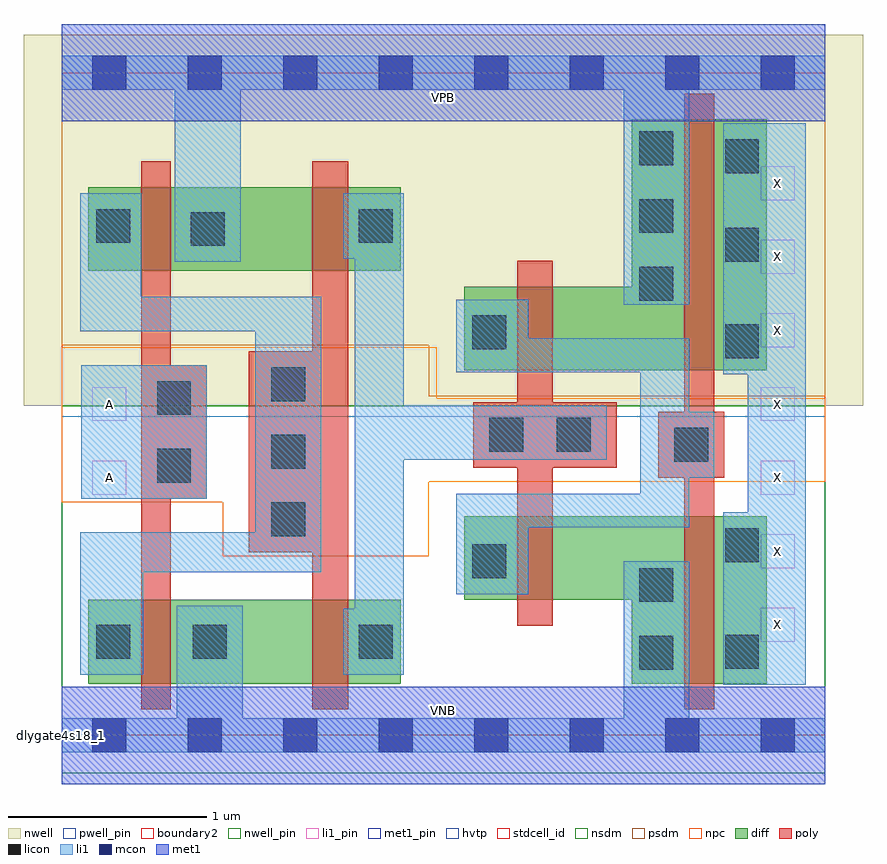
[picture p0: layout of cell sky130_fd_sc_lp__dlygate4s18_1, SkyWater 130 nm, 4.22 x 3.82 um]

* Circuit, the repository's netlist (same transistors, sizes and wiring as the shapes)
* Copyright 2020 The SkyWater PDK Authors
*
* Licensed under the Apache License, Version 2.0 (the "License");
* you may not use this file except in compliance with the License.
* You may obtain a copy of the License at
*
*     https://www.apache.org/licenses/LICENSE-2.0
*
* Unless required by applicable law or agreed to in writing, software
* distributed under the License is distributed on an "AS IS" BASIS,
* WITHOUT WARRANTIES OR CONDITIONS OF ANY KIND, either express or implied.
* See the License for the specific language governing permissions and
* limitations under the License.
*
* SPDX-License-Identifier: Apache-2.0

.SUBCKT sky130_fd_sc_lp__dlygate4s18_1 A VGND VNB VPB VPWR X
*.PININFO A:I VGND:I VNB:I VPB:I VPWR:I X:O
MMIN1 Ab net34 VGND VNB sky130_fd_pr__nfet_01v8 m=1 w=0.42U l=0.18U mult=1 sa=0.265
+ sb=0.265 sd=0.28 area=0.063 perim=1.14
MMIN2 X Ab VGND VNB sky130_fd_pr__nfet_01v8 m=1 w=0.84U l=0.15U mult=1 sa=0.265
+ sb=0.265 sd=0.28 area=0.063 perim=1.14
MI6 net34 net30 VGND VNB sky130_fd_pr__nfet_01v8 m=1 w=0.42U l=0.18U mult=1 sa=0.265
+ sb=0.265 sd=0.28 area=0.063 perim=1.14
MI9 net30 A VGND VNB sky130_fd_pr__nfet_01v8 m=1 w=0.42U l=0.15U mult=1 sa=0.265
+ sb=0.265 sd=0.28 area=0.063 perim=1.14
MMIP1 Ab net34 VPWR VPB sky130_fd_pr__pfet_01v8_hvt m=1 w=0.42U l=0.18U mult=1
+ sa=0.265 sb=0.265 sd=0.28 area=0.063 perim=1.14
MMIP2 X Ab VPWR VPB sky130_fd_pr__pfet_01v8_hvt m=1 w=1.26U l=0.15U mult=1 sa=0.265
+ sb=0.265 sd=0.28 area=0.063 perim=1.14
MI7 net34 net30 VPWR VPB sky130_fd_pr__pfet_01v8_hvt m=1 w=0.42U l=0.18U mult=1
+ sa=0.265 sb=0.265 sd=0.28 area=0.063 perim=1.14
MI8 net30 A VPWR VPB sky130_fd_pr__pfet_01v8_hvt m=1 w=0.42U l=0.15U mult=1 sa=0.265
+ sb=0.265 sd=0.28 area=0.063 perim=1.14
.ENDS sky130_fd_sc_lp__dlygate4s18_1

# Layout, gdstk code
import gdstk
lib = gdstk.Library(unit=1e-6, precision=1e-09)
def R(c, l, rs):  # rectangles x0, y0, x1, y1
    for r in rs: c.add(gdstk.rectangle(r[:2], r[2:], *l))
def A(c, l, x, y, w, h, nx, ny, dx, dy):  # array of equal rectangles
    R(c, l, [(x+i*dx, y+j*dy, x+i*dx+w, y+j*dy+h) for i in range(nx) for j in range(ny)])
def P(c, l, *ps):  # polygons
    for p in ps: c.add(gdstk.Polygon(p, *l))
nwell_pin = (64, 16)
nwell = (64, 20)
diff = (65, 20)
poly = (66, 20)
licon = (66, 44)
li1_pin = (67, 16)
li1 = (67, 20)
mcon = (67, 44)
met1_pin = (68, 16)
met1 = (68, 20)
hvtp = (78, 44)
stdcell_id = (81, 4)
nsdm = (93, 44)
psdm = (94, 20)
npc = (95, 20)
pwell_pin = (122, 16)
boundary2 = (236, 0)

sky130_fd_sc_lp__dlygate = lib.new_cell('sky130_fd_sc_lp__dlygate4s18_1')
R(sky130_fd_sc_lp__dlygate, nwell_pin, [(0,3.085,3.84,3.33)])
R(sky130_fd_sc_lp__dlygate, nwell, [(-0.19,1.655,4.03,3.52)])
R(sky130_fd_sc_lp__dlygate, diff, [(0.135,0.26,1.705,0.68), (0.135,2.335,1.705,2.755)])
P(sky130_fd_sc_lp__dlygate, diff, [(3.545,3.095),(2.865,3.095),(2.865,2.255),(2.025,2.255),(2.025,1.835),(3.545,1.835)],
  [(3.545,1.1),(2.025,1.1),(2.025,0.68),(2.865,0.68),(2.865,0.26),(3.545,0.26)])
P(sky130_fd_sc_lp__dlygate, poly, [(0.73,1.86),(0.55,1.86),(0.55,2.885),(0.4,2.885),(0.4,0.13),(0.55,0.13),(0.55,1.19),(0.73,1.19)],
  [(1.44,2.885),(1.26,2.885),(1.26,1.93),(0.94,1.93),(0.94,0.92),(1.26,0.92),(1.26,0.13),(1.44,0.13)],
  [(2.79,1.675),(2.47,1.675),(2.47,2.385),(2.29,2.385),(2.29,1.675),(2.07,1.675),(2.07,1.345),(2.29,1.345),(2.29,0.55),(2.47,0.55),(2.47,1.345),(2.79,1.345)],
  [(3.33,1.625),(3.28,1.625),(3.28,3.225),(3.13,3.225),(3.13,1.625),(3,1.625),(3,1.295),(3.13,1.295),(3.13,0.13),(3.28,0.13),(3.28,1.295),(3.33,1.295)])
A(sky130_fd_sc_lp__dlygate, licon, 1.055, 1, 0.17, 0.17, 1, 3, 0, 0.34)
A(sky130_fd_sc_lp__dlygate, licon, 2.905, 2.185, 0.17, 0.17, 1, 3, 0, 0.34)
R(sky130_fd_sc_lp__dlygate, licon, [(2.905,0.33,3.075,0.5), (3.335,0.335,3.505,0.505), (0.175,0.385,0.345,0.555), (0.66,0.385,0.83,0.555), (1.495,0.385,1.665,0.555), (2.905,0.67,3.075,0.84), (2.065,0.79,2.235,0.96), (3.335,0.87,3.505,1.04), (0.48,1.27,0.65,1.44), (3.08,1.375,3.25,1.545), (2.15,1.425,2.32,1.595), (2.49,1.425,2.66,1.595), (0.48,1.61,0.65,1.78), (3.335,1.895,3.505,2.065), (2.065,1.94,2.235,2.11), (3.335,2.38,3.505,2.55), (0.65,2.46,0.82,2.63), (0.175,2.475,0.345,2.645), (1.495,2.475,1.665,2.645), (3.335,2.825,3.505,2.995)])
A(sky130_fd_sc_lp__dlygate, li1_pin, 3.515, 0.47, 0.17, 0.17, 1, 7, 0, 0.37)
R(sky130_fd_sc_lp__dlygate, li1_pin, [(0.155,1.21,0.325,1.38), (0.155,1.58,0.325,1.75)])
R(sky130_fd_sc_lp__dlygate, li1, [(0.1,1.19,0.73,1.86)])
P(sky130_fd_sc_lp__dlygate, li1, [(1.305,2.205),(0.4,2.205),(0.4,2.725),(0.095,2.725),(0.095,2.03),(0.975,2.03),(0.975,1.02),(0.095,1.02),(0.095,0.305),(0.41,0.305),(0.41,0.82),(1.305,0.82)],
  [(2.74,1.655),(1.72,1.655),(1.72,2.725),(1.415,2.725),(1.415,2.395),(1.475,2.395),(1.475,0.635),(1.415,0.635),(1.415,0.305),(1.72,0.305),(1.72,1.385),(2.74,1.385)],
  [(3.28,1.625),(3.155,1.625),(3.155,1.995),(2.345,1.995),(2.345,2.19),(1.985,2.19),(1.985,1.825),(2.91,1.825),(2.91,1.215),(1.985,1.215),(1.985,0.71),(2.345,0.71),(2.345,1.045),(3.155,1.045),(3.155,1.295),(3.28,1.295)],
  [(3.84,3.415),(0,3.415),(0,3.245),(0.57,3.245),(0.57,2.38),(0.9,2.38),(0.9,3.245),(2.825,3.245),(2.825,2.165),(3.155,2.165),(3.155,3.245),(3.84,3.245)],
  [(3.84,0.085),(3.155,0.085),(3.155,0.875),(2.825,0.875),(2.825,0.085),(0.91,0.085),(0.91,0.65),(0.58,0.65),(0.58,0.085),(0,0.085),(0,-0.085),(3.84,-0.085)],
  [(3.74,3.075),(3.325,3.075),(3.325,1.815),(3.45,1.815),(3.45,1.12),(3.325,1.12),(3.325,0.255),(3.74,0.255)])
A(sky130_fd_sc_lp__dlygate, mcon, 0.155, -0.085, 0.17, 0.17, 8, 2, 0.48, 3.33)
R(sky130_fd_sc_lp__dlygate, met1_pin, [(0,0,3.84,0.245), (0,3.085,3.84,3.33)])
R(sky130_fd_sc_lp__dlygate, met1, [(0,-0.245,3.84,0.245), (0,3.085,3.84,3.575)])
R(sky130_fd_sc_lp__dlygate, hvtp, [(0,1.6,3.84,3.33)])
R(sky130_fd_sc_lp__dlygate, stdcell_id, [(0,0,3.84,3.33)])
R(sky130_fd_sc_lp__dlygate, nsdm, [(0,-0.19,3.84,1.655)])
P(sky130_fd_sc_lp__dlygate, psdm, [(3.84,3.52),(0,3.52),(0,1.96),(1.845,1.96),(1.845,1.705),(3.84,1.705)])
P(sky130_fd_sc_lp__dlygate, npc, [(3.84,1.695),(1.885,1.695),(1.885,1.95),(0,1.95),(0,1.17),(0.81,1.17),(0.81,0.9),(1.845,0.9),(1.845,1.275),(3.84,1.275)])
R(sky130_fd_sc_lp__dlygate, pwell_pin, [(0,0,3.84,0.245)])
R(sky130_fd_sc_lp__dlygate, boundary2, [(0,0,3.84,3.33)])
sky130_fd_sc_lp__dlygate.add(gdstk.Label('VNB', (1.92,0.123), layer=64, texttype=59))
sky130_fd_sc_lp__dlygate.add(gdstk.Label('VPB', (1.92,3.208), layer=64, texttype=5))
sky130_fd_sc_lp__dlygate.add(gdstk.Label('dlygate4s18_1', (0,0), layer=83, texttype=44))
sky130_fd_sc_lp__dlygate.add(gdstk.Label('VGND', (1.92,0.123), layer=68, texttype=5))
sky130_fd_sc_lp__dlygate.add(gdstk.Label('VPWR', (1.92,3.208), layer=68, texttype=5))
sky130_fd_sc_lp__dlygate.add(gdstk.Label('A', (0.24,1.295), layer=67, texttype=5))
sky130_fd_sc_lp__dlygate.add(gdstk.Label('A', (0.24,1.665), layer=67, texttype=5))
sky130_fd_sc_lp__dlygate.add(gdstk.Label('X', (3.6,1.665), layer=67, texttype=5))
sky130_fd_sc_lp__dlygate.add(gdstk.Label('X', (3.6,2.405), layer=67, texttype=5))
sky130_fd_sc_lp__dlygate.add(gdstk.Label('X', (3.6,2.035), layer=67, texttype=5))
sky130_fd_sc_lp__dlygate.add(gdstk.Label('X', (3.6,0.925), layer=67, texttype=5))
sky130_fd_sc_lp__dlygate.add(gdstk.Label('X', (3.6,0.555), layer=67, texttype=5))
sky130_fd_sc_lp__dlygate.add(gdstk.Label('X', (3.6,1.295), layer=67, texttype=5))
sky130_fd_sc_lp__dlygate.add(gdstk.Label('X', (3.6,2.775), layer=67, texttype=5))

lib.write_gds('sky130_fd_sc_lp__dlygate4s18_1.gds')
